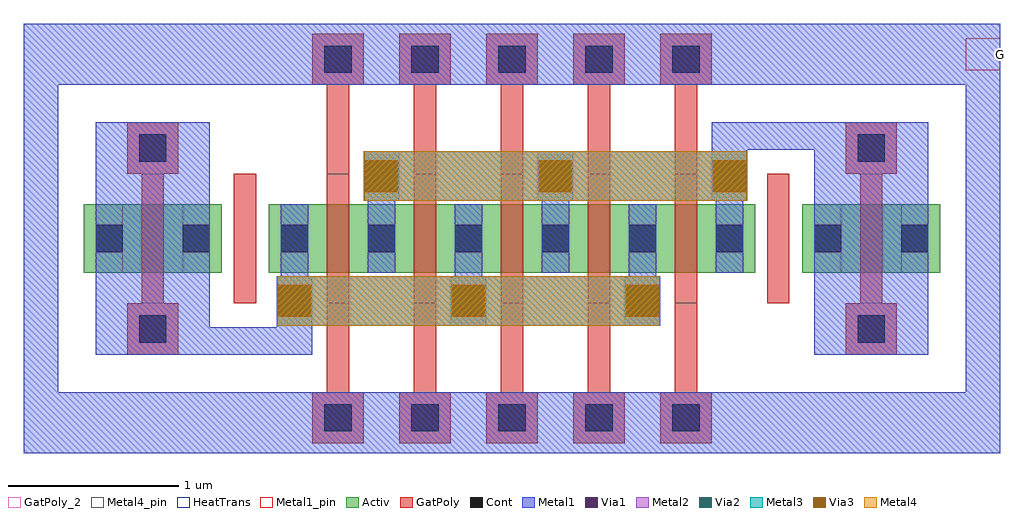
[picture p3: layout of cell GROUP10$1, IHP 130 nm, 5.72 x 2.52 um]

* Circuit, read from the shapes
.subckt GROUP10$1 G
XM1 nmos_priv3$1_0/D nmos_priv3$1_0/D nmos_priv3$1_0/D VSUBS sg13_lv_nmos w=0.4u l=0.13u
XM2 nmos_priv3$1_0/S G nmos_priv3$1_0/D VSUBS sg13_lv_nmos w=0.4u l=0.13u m=5
XM3 nmos_priv3$1_0/S nmos_priv3$1_0/S nmos_priv3$1_0/S VSUBS sg13_lv_nmos w=0.4u l=0.13u
.ends

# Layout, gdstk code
import gdstk
lib = gdstk.Library(unit=1e-6, precision=1e-09)
def R(c, l, rs):  # rectangles x0, y0, x1, y1
    for r in rs: c.add(gdstk.rectangle(r[:2], r[2:], *l))
def A(c, l, x, y, w, h, nx, ny, dx, dy):  # array of equal rectangles
    R(c, l, [(x+i*dx, y+j*dy, x+i*dx+w, y+j*dy+h) for i in range(nx) for j in range(ny)])
Activ = (1, 0)
GatPoly = (5, 0)
GatPoly_2 = (5, 2)
Cont = (6, 0)
Metal1 = (8, 0)
Metal1_pin = (8, 2)
Metal2 = (10, 0)
Via1 = (19, 0)
Via2 = (29, 0)
Metal3 = (30, 0)
Via3 = (49, 0)
Metal4 = (50, 0)
Metal4_pin = (50, 2)
HeatTrans = (51, 0)

nmos_priv3_1 = lib.new_cell('nmos_priv3$1')
A(nmos_priv3_1, Activ, 0, 0, 0.3, 0.3, 6, 1, 0.51, 0)
R(nmos_priv3_1, Activ, [(0,0,2.85,0.4)])
A(nmos_priv3_1, GatPoly, 0.255, -1, 0.3, 0.3, 5, 2, 0.51, 2.1)
A(nmos_priv3_1, GatPoly, 0.34, -0.7, 0.13, 0.52, 5, 2, 0.51, 1.28)
A(nmos_priv3_1, GatPoly, 0.34, -0.18, 0.13, 0.76, 5, 1, 0.51, 0)
R(nmos_priv3_1, GatPoly_2, [(0.34,-0.18,0.47,0.58)])
A(nmos_priv3_1, Cont, 0.325, -0.93, 0.16, 0.16, 5, 2, 0.51, 2.1)
A(nmos_priv3_1, Cont, 0.07, 0.12, 0.16, 0.16, 6, 1, 0.51, 0)
A(nmos_priv3_1, Metal1, 0.27, -1.06, 0.27, 0.36, 5, 2, 0.51, 2.16)
A(nmos_priv3_1, Metal1, 0.045, -0.31, 0.21, 0.29, 3, 1, 1.02, 0)
A(nmos_priv3_1, Metal1, 0.07, -0.035, 0.16, 0.05, 3, 1, 1.02, 0)
A(nmos_priv3_1, Metal1, 0.07, 0, 0.16, 0.4, 6, 1, 0.51, 0)
A(nmos_priv3_1, Metal1, 0.58, 0.385, 0.16, 0.05, 3, 1, 1.02, 0)
A(nmos_priv3_1, Metal1, 0.555, 0.42, 0.21, 0.29, 3, 1, 1.02, 0)
R(nmos_priv3_1, Metal1_pin, [(0.07,0,0.23,0.4), (0.58,0,0.74,0.4)])
A(nmos_priv3_1, Metal2, 0.05, -0.31, 0.2, 0.29, 3, 1, 1.02, 0)
A(nmos_priv3_1, Metal2, 0.56, 0.42, 0.2, 0.29, 3, 1, 1.02, 0)
R(nmos_priv3_1, Metal2, [(0.05,-0.31,2.29,-0.02), (0.56,0.42,2.8,0.71)])
A(nmos_priv3_1, Via1, 0.055, -0.26, 0.19, 0.19, 3, 1, 1.02, 0)
A(nmos_priv3_1, Via1, 0.565, 0.47, 0.19, 0.19, 3, 1, 1.02, 0)
A(nmos_priv3_1, Via2, 0.055, -0.26, 0.19, 0.19, 3, 1, 1.02, 0)
A(nmos_priv3_1, Via2, 0.565, 0.47, 0.19, 0.19, 3, 1, 1.02, 0)
A(nmos_priv3_1, Metal3, 0.05, -0.31, 0.2, 0.29, 3, 1, 1.02, 0)
A(nmos_priv3_1, Metal3, 0.56, 0.42, 0.2, 0.29, 3, 1, 1.02, 0)
R(nmos_priv3_1, Metal3, [(0.05,-0.31,2.29,-0.02), (0.56,0.42,2.8,0.71)])
A(nmos_priv3_1, Via3, 0.055, -0.26, 0.19, 0.19, 3, 1, 1.02, 0)
A(nmos_priv3_1, Via3, 0.565, 0.47, 0.19, 0.19, 3, 1, 1.02, 0)
A(nmos_priv3_1, Metal4, 0.05, -0.31, 0.2, 0.29, 3, 1, 1.02, 0)
A(nmos_priv3_1, Metal4, 0.56, 0.42, 0.2, 0.29, 3, 1, 1.02, 0)
R(nmos_priv3_1, Metal4, [(0.05,-0.31,2.29,-0.02), (0.56,0.42,2.8,0.71)])
R(nmos_priv3_1, Metal4_pin, [(2.095,-0.26,2.285,-0.07), (2.605,0.47,2.795,0.66)])
A(nmos_priv3_1, HeatTrans, 0.34, -0.18, 0.13, 0.76, 5, 1, 0.51, 0)
nmos_priv3_1.add(gdstk.Label('nmos', (0.405,0.2), layer=63, texttype=0))
nmos_priv3_1.add(gdstk.Label('nmos', (0.405,0.2), layer=51, texttype=0))
nmos_priv3_1.add(gdstk.Label('nmos', (0.915,0.2), layer=51, texttype=0))
nmos_priv3_1.add(gdstk.Label('nmos', (1.425,0.2), layer=51, texttype=0))
nmos_priv3_1.add(gdstk.Label('nmos', (1.935,0.2), layer=51, texttype=0))
nmos_priv3_1.add(gdstk.Label('nmos', (2.445,0.2), layer=51, texttype=0))
nmos_priv3_1.add(gdstk.Label('S', (2.7,0.565), layer=50, texttype=0))
nmos_priv3_1.add(gdstk.Label('D', (2.19,-0.165), layer=50, texttype=0))

nmos_5_priv5 = lib.new_cell('nmos$5_priv5')
R(nmos_5_priv5, Activ, [(0,0,0.3,0.3), (0,0,0.81,0.4), (0.51,0,0.81,0.3)])
R(nmos_5_priv5, GatPoly, [(0.255,-0.48,0.555,-0.18), (0.34,-0.18,0.47,0.58), (0.255,0.58,0.555,0.88)])
R(nmos_5_priv5, GatPoly_2, [(0.34,-0.18,0.47,0.58)])
R(nmos_5_priv5, Cont, [(0.325,-0.41,0.485,-0.25), (0.07,0.12,0.23,0.28), (0.58,0.12,0.74,0.28), (0.325,0.65,0.485,0.81)])
R(nmos_5_priv5, Metal1, [(0.07,-0.48,0.74,0.88), (0.07,0,0.23,0.4), (0.58,0,0.74,0.4)])
R(nmos_5_priv5, Metal1_pin, [(0.07,0,0.23,0.4), (0.58,0,0.74,0.4)])
R(nmos_5_priv5, HeatTrans, [(0.34,-0.18,0.47,0.58)])
nmos_5_priv5.add(gdstk.Label('nmos', (0.405,0.2), layer=63, texttype=0))
nmos_5_priv5.add(gdstk.Label('nmos', (0.405,0.2), layer=51, texttype=0))

nmos_5_priv6 = lib.new_cell('nmos$5_priv6')
R(nmos_5_priv6, Activ, [(0,0,0.3,0.3), (0,0,0.81,0.4), (0.51,0,0.81,0.3)])
R(nmos_5_priv6, GatPoly, [(0.255,-0.48,0.555,-0.18), (0.34,-0.18,0.47,0.58), (0.255,0.58,0.555,0.88)])
R(nmos_5_priv6, GatPoly_2, [(0.34,-0.18,0.47,0.58)])
R(nmos_5_priv6, Cont, [(0.325,-0.41,0.485,-0.25), (0.07,0.12,0.23,0.28), (0.58,0.12,0.74,0.28), (0.325,0.65,0.485,0.81)])
R(nmos_5_priv6, Metal1, [(0.07,-0.48,0.74,0.88), (0.07,0,0.23,0.4), (0.58,0,0.74,0.4)])
R(nmos_5_priv6, Metal1_pin, [(0.07,0,0.23,0.4), (0.58,0,0.74,0.4)])
R(nmos_5_priv6, HeatTrans, [(0.34,-0.18,0.47,0.58)])
nmos_5_priv6.add(gdstk.Label('nmos', (0.405,0.2), layer=63, texttype=0))
nmos_5_priv6.add(gdstk.Label('nmos', (0.405,0.2), layer=51, texttype=0))

group10_1 = lib.new_cell('GROUP10$1')
R(group10_1, GatPoly, [(192.225,-52.39,192.355,-51.63), (195.35,-52.39,195.48,-51.63)])
R(group10_1, Metal1, [(190.995,-53.27,196.715,-52.91), (190.995,-53.27,191.195,-50.75), (196.515,-53.27,196.715,-50.75), (192.085,-52.69,192.685,-52.53), (192.475,-52.53,192.685,-52.23), (195.025,-51.79,195.235,-51.49), (195.025,-51.49,195.625,-51.33), (190.995,-51.11,196.715,-50.75)])
R(group10_1, Metal1_pin, [(196.515,-51.025,196.715,-50.835)])
group10_1.add(gdstk.Reference(nmos_priv3_1, (192.43,-52.21)))
group10_1.add(gdstk.Reference(nmos_5_priv5, (195.555,-52.21)))
group10_1.add(gdstk.Reference(nmos_5_priv6, (191.345,-52.21)))
group10_1.add(gdstk.Label('G', (196.715,-50.93), layer=8, texttype=0))

lib.write_gds('GROUP10_1.gds')
